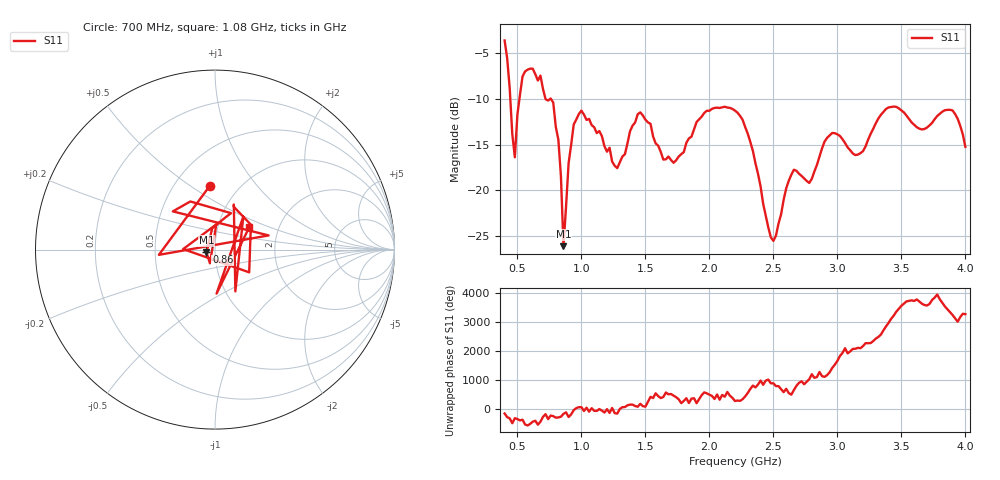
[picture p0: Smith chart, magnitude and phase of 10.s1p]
!Created with skrf (http://scikit-rf.org).
# Hz S RI R 50.0
!freq ReS11 ImS11
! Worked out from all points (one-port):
!   181 points, 400 MHz to 4 GHz, reference 50 ohm
!   lowest |S11| = -26.1 dB at 860 MHz (marker M1), VSWR 1.10, Z = 45.5 - j1.32 ohm
!   |S11| at or under -10 dB: 444.4 MHz to 516.1 MHz (71.64 MHz wide, 14.9 % of centre); 719 MHz to 757.9 MHz (38.91 MHz wide, 5.27 % of centre); 761.1 MHz to end of sweep
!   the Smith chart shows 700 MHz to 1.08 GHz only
!   S11 on the Smith chart (normalised r, x): 700 MHz: 0.74, +0.60; 860 MHz: 0.91, -0.03; 1.08 GHz: 1.41, +0.37
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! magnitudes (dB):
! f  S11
! 400 MHz  -3.6
! 480 MHz  -16.4
! 500 MHz  -11.7
! 540 MHz  -7.6
! 700 MHz  -8.9
! 780 MHz  -10.4
! 820 MHz  -14.5
! 840 MHz  -18.5
! 860 MHz  -26.1
! 900 MHz  -17.0
! 940 MHz  -12.8
! 1.08 GHz  -12.9
! 1.3 GHz  -17.0
! 1.46 GHz  -11.5
! 1.64 GHz  -16.6
! 1.76 GHz  -16.3
! 1.98 GHz  -11.3
! 2.2 GHz  -11.3
! 2.32 GHz  -14.7
! 2.5 GHz  -25.5
! 2.66 GHz  -17.8
! 2.78 GHz  -19.2
! 2.96 GHz  -13.7
! 3.1 GHz  -15.6
! 3.4 GHz  -11.0
! 3.56 GHz  -12.2
! 3.9 GHz  -11.3
! 4 GHz  -15.3
